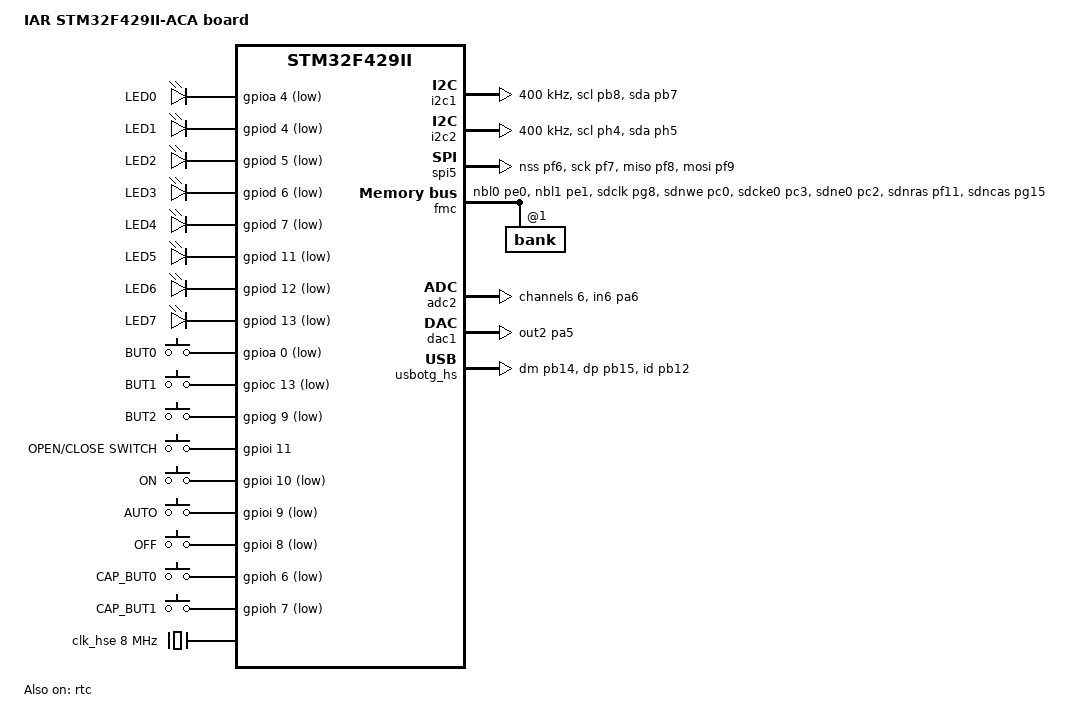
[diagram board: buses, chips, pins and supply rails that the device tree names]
/*
 * Copyright (c) 2017 Linaro Limited
 * Copyright (c) 2024 STMicroelectronics
 * Copyright (c) 2025 IAR Systems
 *
 * SPDX-License-Identifier: Apache-2.0
 */

/dts-v1/;
#include <st/f4/stm32f429Xi.dtsi>
#include <st/f4/stm32f429iitx-pinctrl.dtsi>
#include <zephyr/dt-bindings/input/input-event-codes.h>

/ {
	model = "IAR STM32F429II-ACA board";
	compatible = "iar,stm32f429ii-aca";

	chosen {
		zephyr,sram = &sram0;
		zephyr,flash = &flash0;
		zephyr,ccm = &ccm0;
	};

	sdram2: sdram@d0000000 {
		compatible = "zephyr,memory-region", "mmio-sram";
		device_type = "memory";
		reg = <0xd0000000 DT_SIZE_M(8)>;
		zephyr,memory-region = "SDRAM2";
	};

	leds {
		compatible = "gpio-leds";

		traffic_red_led: led_0 {
			gpios = <&gpioa 4 GPIO_ACTIVE_LOW>;
			label = "LED0";
		};

		traffic_yellow_led: led_1 {
			gpios = <&gpiod 4 GPIO_ACTIVE_LOW>;
			label = "LED1";
		};

		traffic_green_led: led_2 {
			gpios = <&gpiod 5 GPIO_ACTIVE_LOW>;
			label = "LED2";
		};

		car_led: led_3 {
			gpios = <&gpiod 6 GPIO_ACTIVE_LOW>;
			label = "LED3";
		};

		pedestrian_red_led: led_4 {
			gpios = <&gpiod 7 GPIO_ACTIVE_LOW>;
			label = "LED4";
		};

		pedestrian_green_led: led_5 {
			gpios = <&gpiod 11 GPIO_ACTIVE_LOW>;
			label = "LED5";
		};

		user_led_1: led_6 {
			gpios = <&gpiod 12 GPIO_ACTIVE_LOW>;
			label = "LED6";
		};

		user_led_2: led_7 {
			gpios = <&gpiod 13 GPIO_ACTIVE_LOW>;
			label = "LED7";
		};
	};

	gpio_keys {
		compatible = "gpio-keys";

		button0: button_0 {
			label = "BUT0";
			gpios = <&gpioa 0 GPIO_ACTIVE_LOW>;
			zephyr,code = <INPUT_KEY_0>;
		};

		button1: button_1 {
			label = "BUT1";
			gpios = <&gpioc 13 GPIO_ACTIVE_LOW>;
			zephyr,code = <INPUT_KEY_1>;
		};

		button2: button_2 {
			label = "BUT2";
			gpios = <&gpiog 9 GPIO_ACTIVE_LOW>;
			zephyr,code = <INPUT_KEY_2>;
		};

		open_close_switch: switch_0 {
			label = "OPEN/CLOSE SWITCH";
			gpios = <&gpioi 11 GPIO_ACTIVE_HIGH>;
			zephyr,code = <INPUT_KEY_3>;
		};

		interior_light_switch_on: switch_1 {
			label = "ON";
			gpios = <&gpioi 10 GPIO_ACTIVE_LOW>;
			zephyr,code = <INPUT_KEY_4>;
		};

		interior_light_switch_auto: switch_2 {
			label = "AUTO";
			gpios = <&gpioi 9 GPIO_ACTIVE_LOW>;
			zephyr,code = <INPUT_KEY_5>;
		};

		interior_light_switch_off: switch_3 {
			label = "OFF";
			gpios = <&gpioi 8 GPIO_ACTIVE_LOW>;
			zephyr,code = <INPUT_KEY_6>;
		};

		cap_button0: cap_button_0 {
			label = "CAP_BUT0";
			gpios = <&gpioh 6 GPIO_ACTIVE_LOW>;
			zephyr,code = <INPUT_KEY_7>;
		};

		cap_button1: cap_button_1 {
			label = "CAP_BUT1";
			gpios = <&gpioh 7 GPIO_ACTIVE_LOW>;
			zephyr,code = <INPUT_KEY_8>;
		};
	};

	aliases {
		led0 = &traffic_red_led;
		led1 = &traffic_yellow_led;
		led2 = &traffic_green_led;
		led3 = &car_led;
		led4 = &pedestrian_red_led;
		led5 = &pedestrian_green_led;
		led6 = &user_led_1;
		led7 = &user_led_2;
		sw0 = &button0;
		sw1 = &button1;
		sw2 = &button2;
		sw3 = &open_close_switch;
		sw4 = &interior_light_switch_on;
		sw5 = &interior_light_switch_auto;
		sw6 = &interior_light_switch_off;
		sw7 = &cap_button0;
		sw8 = &cap_button1;
	};
};

&clk_lsi {
	status = "okay";
};

&clk_hse {
	clock-frequency = <DT_FREQ_M(8)>;
	status = "okay";
};

&pll {
	div-m = <8>;
	mul-n = <336>;
	div-p = <2>;
	div-q = <7>;
	clocks = <&clk_hse>;
	status = "okay";
};

&rcc {
	clocks = <&pll>;
	clock-frequency = <DT_FREQ_M(168)>;
	ahb-prescaler = <1>;
	apb1-prescaler = <4>;
	apb2-prescaler = <2>;
};

&rtc {
	clocks = <&rcc STM32_CLOCK(APB1, 28)>,
		 <&rcc STM32_SRC_LSI RTC_SEL(2)>;
	status = "okay";
};

&i2c1 {
	pinctrl-0 = <&i2c1_scl_pb8 &i2c1_sda_pb7>;
	pinctrl-names = "default";
	status = "okay";
	clock-frequency = <I2C_BITRATE_FAST>;
};

&i2c2 {
	pinctrl-0 = <&i2c2_scl_ph4 &i2c2_sda_ph5>;
	pinctrl-names = "default";
	status = "okay";
	clock-frequency = <I2C_BITRATE_FAST>;
};


&spi5 {
	pinctrl-0 = <&spi5_nss_pf6 &spi5_sck_pf7
		     &spi5_miso_pf8 &spi5_mosi_pf9>;
	pinctrl-names = "default";
	status = "okay";
	cs-gpios = <&gpioc 2 GPIO_ACTIVE_LOW>;
};

&fmc {
	status = "okay";
	pinctrl-0 = <&fmc_nbl0_pe0 &fmc_nbl1_pe1
		     &fmc_sdclk_pg8 &fmc_sdnwe_pc0 &fmc_sdcke0_pc3
		     &fmc_sdne0_pc2 &fmc_sdnras_pf11 &fmc_sdncas_pg15
		     &fmc_a0_pf0 &fmc_a1_pf1 &fmc_a2_pf2 &fmc_a3_pf3
		     &fmc_a4_pf4 &fmc_a5_pf5 &fmc_a6_pf12 &fmc_a7_pf13
		     &fmc_a8_pf14 &fmc_a9_pf15 &fmc_a10_pg0 &fmc_a11_pg1
		     &fmc_a12_pg2 &fmc_a13_pg3 &fmc_a14_pg4 &fmc_a15_pg5
		     &fmc_d0_pd14 &fmc_d1_pd15 &fmc_d2_pd0 &fmc_d3_pd1
		     &fmc_d4_pe7 &fmc_d5_pe8 &fmc_d6_pe9 &fmc_d7_pe10
		     &fmc_d8_pe11 &fmc_d9_pe12 &fmc_d10_pe13 &fmc_d11_pe14
		     &fmc_d12_pe15 &fmc_d13_pd8 &fmc_d14_pd9 &fmc_d15_pd10>;
	pinctrl-names = "default";

	sdram {
		status = "okay";

		power-up-delay = <100>;
		num-auto-refresh = <1>;
		mode-register = <0>;
		refresh-rate = <1386>;

		bank@1 {
			reg = <1>;

			st,sdram-control = <STM32_FMC_SDRAM_NC_8
					    STM32_FMC_SDRAM_NR_12
					    STM32_FMC_SDRAM_MWID_16
					    STM32_FMC_SDRAM_NB_4
					    STM32_FMC_SDRAM_CAS_2
					    STM32_FMC_SDRAM_SDCLK_PERIOD_3
					    STM32_FMC_SDRAM_RBURST_DISABLE
					    STM32_FMC_SDRAM_RPIPE_1>;
			st,sdram-timing = <2 7 4 7 2 2 2>;
		};
	};
};

&adc2 {
	compatible = "st,stm32f4-adc", "st,stm32-adc";
	pinctrl-0 = <&adc2_in6_pa6>;
	pinctrl-names = "default";
	st,adc-prescaler = <2>;
	status = "okay";

	#address-cells = <1>;
	#size-cells = <0>;

	channel@6 {
		reg = <6>;
		zephyr,gain = "ADC_GAIN_1";
		zephyr,reference = "ADC_REF_INTERNAL";
		zephyr,acquisition-time = <ADC_ACQ_TIME_DEFAULT>;
		zephyr,resolution = <12>;
	};
};

&dac1 {
	pinctrl-0 = <&dac_out2_pa5>;
	pinctrl-names = "default";
	status = "okay";
};

zephyr_udc0: &usbotg_hs {
	pinctrl-0 = <&usb_otg_hs_dm_pb14 &usb_otg_hs_dp_pb15 &usb_otg_hs_id_pb12>;
	pinctrl-names = "default";
	status = "okay";
};
